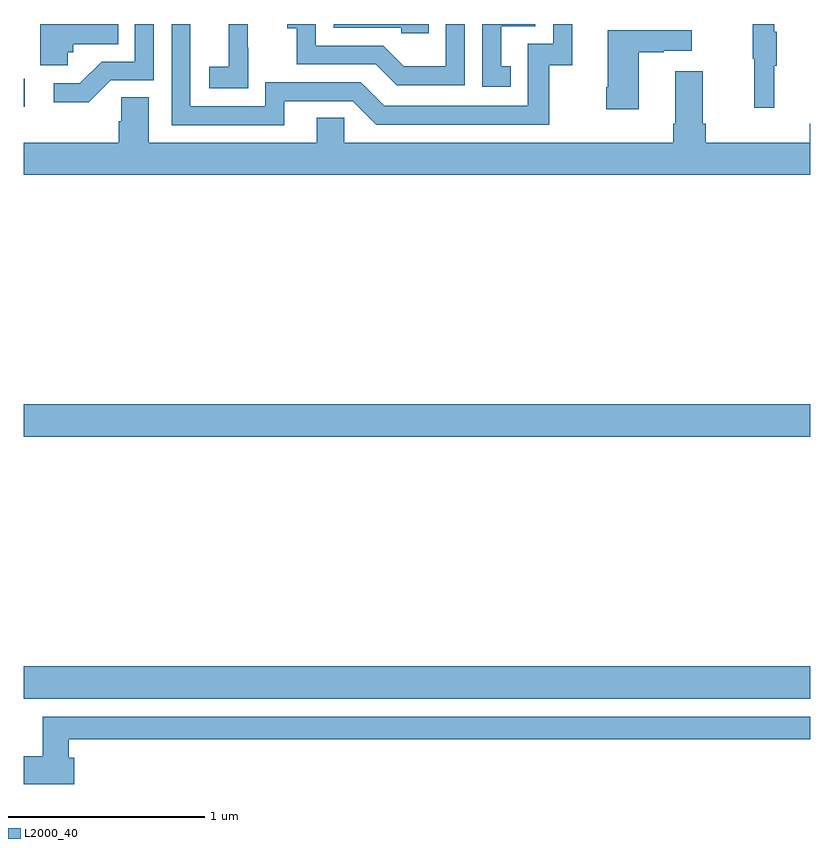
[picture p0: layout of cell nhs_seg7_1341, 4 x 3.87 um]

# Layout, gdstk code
import gdstk
lib = gdstk.Library(unit=1e-6, precision=1e-09)
def R(c, l, rs):  # rectangles x0, y0, x1, y1
    for r in rs: c.add(gdstk.rectangle(r[:2], r[2:], *l))
def P(c, l, *ps):  # polygons
    for p in ps: c.add(gdstk.Polygon(p, *l))
L2000_40 = (2000, 40)

nhs_seg7_1341 = lib.new_cell('nhs_seg7_1341')
R(nhs_seg7_1341, L2000_40, [(203,1048.568,207,1048.732), (203,1049.9,207,1050.064), (203,1051.578,203.005,1051.722)])
P(nhs_seg7_1341, L2000_40, [(205.478,1051.785),(205.429,1051.785),(205.429,1051.989),(205.602,1051.989),(205.602,1052),(205.332,1052),(205.332,1051.68),(205.478,1051.68)],
  [(203.442,1051.713),(203.661,1051.713),(203.661,1052),(203.565,1052),(203.565,1051.809),(203.396,1051.809),(203.285,1051.698),(203.151,1051.698),(203.151,1051.601),(203.329,1051.601)],
  [(204.325,1051.608),(204.672,1051.608),(204.792,1051.488),(205.672,1051.488),(205.672,1051.791),(205.79,1051.791),(205.79,1052),(205.692,1052),(205.692,1051.899),(205.563,1051.899),(205.563,1051.584),(204.834,1051.584),(204.714,1051.704),(204.228,1051.704),(204.228,1051.581),(203.847,1051.581),(203.847,1052),(203.751,1052),(203.751,1051.485),(204.325,1051.485)],
  [(205.242,1052),(205.146,1052),(205.146,1051.786),(204.932,1051.786),(204.828,1051.89),(204.486,1051.89),(204.486,1052),(204.339,1052),(204.339,1051.979),(204.388,1051.979),(204.388,1051.794),(204.791,1051.794),(204.896,1051.689),(205.242,1051.689)],
  [(203.223,1051.857),(203.25,1051.857),(203.25,1051.898),(203.48,1051.898),(203.48,1052),(203.084,1052),(203.084,1051.79),(203.223,1051.79)],
  [(205.061,1052),(204.576,1052),(204.576,1051.98),(204.921,1051.98),(204.921,1051.953),(205.061,1051.953)],
  [(204.141,1051.879),(204.14,1051.879),(204.14,1052),(204.041,1052),(204.041,1051.783),(203.943,1051.783),(203.943,1051.673),(204.141,1051.673)],
  [(206.819,1051.787),(206.83,1051.787),(206.83,1051.961),(206.819,1051.961),(206.819,1052),(206.709,1052),(206.709,1051.824),(206.716,1051.824),(206.716,1051.575),(206.819,1051.575)],
  [(206.128,1051.855),(206.255,1051.855),(206.255,1051.865),(206.398,1051.865),(206.398,1051.969),(205.97,1051.969),(205.97,1051.678),(205.963,1051.678),(205.963,1051.566),(206.128,1051.566)],
  [(207,1051.492),(206.999,1051.492),(206.999,1051.396),(206.468,1051.396),(206.468,1051.492),(206.455,1051.492),(206.455,1051.759),(206.315,1051.759),(206.315,1051.492),(206.303,1051.492),(206.303,1051.396),(204.63,1051.396),(204.63,1051.523),(204.491,1051.523),(204.491,1051.396),(203.635,1051.396),(203.635,1051.628),(203.496,1051.628),(203.496,1051.505),(203.483,1051.505),(203.483,1051.396),(203,1051.396),(203,1051.232),(207,1051.232)],
  [(203.255,1048.267),(203.227,1048.267),(203.227,1048.36),(207,1048.36),(207,1048.476),(203.095,1048.476),(203.095,1048.275),(203,1048.275),(203,1048.133),(203.255,1048.133)])

lib.write_gds('nhs_seg7_1341.gds')
